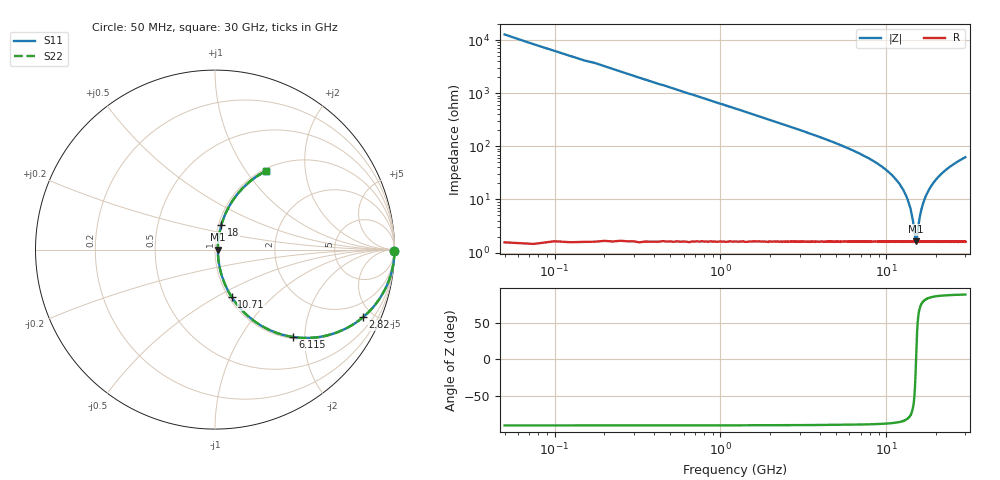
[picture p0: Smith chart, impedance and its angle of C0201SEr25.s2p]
!	AVX Thin Film Operation 	Date: April 2014
!	Description: Accu-P® Series, Thin Film  SMD RF Capacitor
!	Part Number: 02011JR25ZBSTR
# MHZ S MA R 50
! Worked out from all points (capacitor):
!   1201 points, 50 MHz to 30 GHz, reference 50 ohm
!   read as one part in series: C = 250 fF near 199.8 MHz
!   lowest |Z| = 1.63 ohm at 15.12 GHz (marker M1)
!   series resonance near 15.12 GHz, so ESL is about 440 pH
!   S11 on the Smith chart (normalised r, x): 50 MHz: open; 2.82 GHz: 1.04, -4.36; 6.115 GHz: 1.03, -1.74; 10.71 GHz: 1.03, -0.59; 18 GHz: 1.03, +0.29; 30 GHz: 1.03, +1.25
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50  1 -0.5  0.007854 89.5  0.007854 89.5  1 -0.5
249.667  0.999 -2.2  0.039 87.7  0.039 87.7  0.999 -2.2
349.5  0.998 -3.1  0.055 86.8  0.055 86.8  0.998 -3.1
524.208  0.997 -4.7  0.082 85.2  0.082 85.2  0.997 -4.7
773.792  0.992 -6.9  0.121 82.9  0.121 82.9  0.992 -6.9
1597.417  0.968 -14.2  0.246 75.5  0.246 75.5  0.968 -14.2
2820.375  0.906 -24.6  0.416 65.0  0.416 65.0  0.906 -24.6
5041.667  0.741 -41.3  0.661 47.8  0.661 47.8  0.741 -41.3
6114.875  0.651 -48.3  0.747 40.6  0.747 40.6  0.651 -48.3
10058.29  0.328 -68.2  0.93 19.1  0.93 19.1  0.328 -68.2
10707.21  0.28 -70.6  0.945 16.3  0.945 16.3  0.28 -70.6
12279.58  0.172 -75.0  0.97 9.9  0.97 9.9  0.172 -75.0
13502.54  0.095 -75.1  0.98 5.4  0.98 5.4  0.095 -75.1
14301.21  0.049 -68.5  0.983 2.6  0.983 2.6  0.049 -68.5
15025  0.017 -18.0  0.984 0.3  0.984 0.3  0.017 -18.0
15124.83  0.016 1.0  0.984 -0.0  0.984 -0.0  0.016 1.0
16272.92  0.063 72.0  0.982 -3.5  0.982 -3.5  0.063 72.0
16971.75  0.097 75.2  0.98 -5.5  0.98 -5.5  0.097 75.2
17995.04  0.144 75.5  0.974 -8.3  0.974 -8.3  0.144 75.5
20016.67  0.23 72.9  0.958 -13.3  0.958 -13.3  0.23 72.9
25033.29  0.4 64.4  0.902 -23.5  0.902 -23.5  0.4 64.4
30000  0.523 57.0  0.839 -31.5  0.839 -31.5  0.523 57.0
